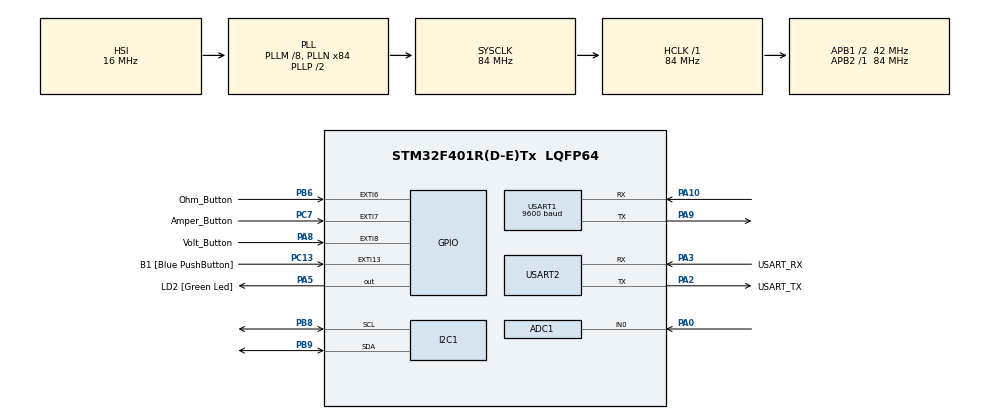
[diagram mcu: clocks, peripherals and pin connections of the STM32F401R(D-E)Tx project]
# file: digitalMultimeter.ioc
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ADC1.Channel-0\#ChannelRegularConversion=ADC_CHANNEL_0
ADC1.ContinuousConvMode=DISABLE
ADC1.NbrOfConversionFlag=1
ADC1.Rank-0\#ChannelRegularConversion=1
ADC1.SamplingTime-0\#ChannelRegularConversion=ADC_SAMPLETIME_3CYCLES
ADC1.ScanConvMode=DISABLE
ADC1.master=1
FREERTOS.Queues01=voltQueue,16,uint16_t,0,Dynamic,NULL,NULL;queueAmper,16,uint16_t,0,Dynamic,NULL,NULL;queueOhm,16,uint16_t,0,Dynamic,NULL,NULL
FREERTOS.Tasks01=voltMeter,24,128,StartVoltMeter,Default,NULL,Dynamic,NULL,NULL;amperMeter,24,128,StartAmperMeter,Default,NULL,Dynamic,NULL,NULL;ohmmeter,24,128,StartOhmMeter,Default,NULL,Dynamic,NULL,NULL;defaultPrint,24,128,StartPrint,Default,NULL,Dynamic,NULL,NULL;adcAcquire,24,128,StartADC,Default,NULL,Dynamic,NULL,NULL
Mcu.Family=STM32F4
Mcu.Name=STM32F401R(D-E)Tx
Mcu.Package=LQFP64
NVIC.EXTI15_10_IRQn=true\:5\:0\:false\:false\:true\:true\:true\:true\:true
NVIC.EXTI9_5_IRQn=true\:5\:0\:false\:false\:true\:true\:true\:true\:true
NVIC.PriorityGroup=NVIC_PRIORITYGROUP_4
NVIC.TIM2_IRQn=true\:15\:0\:false\:false\:true\:false\:false\:true\:true
NVIC.TimeBase=TIM2_IRQn
NVIC.TimeBaseIP=TIM2
PA0-WKUP.Signal=ADCx_IN0
PA10.Mode=Asynchronous
PA10.Signal=USART1_RX
PA13.GPIO_Label=TMS
PA13.Mode=Serial_Wire
PA13.Signal=SYS_JTMS-SWDIO
PA14.GPIO_Label=TCK
PA14.Mode=Serial_Wire
PA14.Signal=SYS_JTCK-SWCLK
PA2.GPIO_Label=USART_TX
PA2.GPIO_Mode=GPIO_MODE_AF_PP
PA2.GPIO_PuPd=GPIO_NOPULL
PA2.GPIO_Speed=GPIO_SPEED_FREQ_LOW
PA2.Mode=Asynchronous
PA2.Signal=USART2_TX
PA3.GPIO_Label=USART_RX
PA3.GPIO_Mode=GPIO_MODE_AF_PP
PA3.GPIO_PuPd=GPIO_NOPULL
PA3.GPIO_Speed=GPIO_SPEED_FREQ_LOW
PA3.Mode=Asynchronous
PA3.Signal=USART2_RX
PA5.GPIO_Label=LD2 [Green Led]
PA5.GPIO_Mode=GPIO_MODE_OUTPUT_PP
PA5.GPIO_PuPd=GPIO_NOPULL
PA5.GPIO_Speed=GPIO_SPEED_FREQ_LOW
PA5.Signal=GPIO_Output
PA8.GPIO_Label=Volt_Button
PA8.GPIO_PuPd=GPIO_NOPULL
PA8.Signal=GPXTI8
PA9.Mode=Asynchronous
PA9.Signal=USART1_TX
PB3.GPIO_Label=SWO
PB3.Signal=SYS_JTDO-SWO
PB6.GPIO_Label=Ohm_Button
PB6.GPIO_PuPd=GPIO_NOPULL
PB6.Signal=GPXTI6
PB8.Mode=I2C
PB8.Signal=I2C1_SCL
PB9.Mode=I2C
PB9.Signal=I2C1_SDA
PC13-ANTI_TAMP.GPIO_Label=B1 [Blue PushButton]
PC13-ANTI_TAMP.GPIO_ModeDefaultEXTI=GPIO_MODE_IT_FALLING
PC13-ANTI_TAMP.GPIO_PuPd=GPIO_NOPULL
PC13-ANTI_TAMP.Signal=GPXTI13
PC14-OSC32_IN.Mode=LSE-External-Oscillator
PC14-OSC32_IN.Signal=RCC_OSC32_IN
PC15-OSC32_OUT.Mode=LSE-External-Oscillator
PC15-OSC32_OUT.Signal=RCC_OSC32_OUT
PC7.GPIO_Label=Amper_Button
PC7.GPIO_PuPd=GPIO_NOPULL
PC7.Signal=GPXTI7
PH0\ -\ OSC_IN.Mode=HSE-External-Oscillator
PH0\ -\ OSC_IN.Signal=RCC_OSC_IN
PH1\ -\ OSC_OUT.Mode=HSE-External-Oscillator
PH1\ -\ OSC_OUT.Signal=RCC_OSC_OUT
ProjectManager.HeapSize=0x200
ProjectManager.StackSize=0x400
ProjectManager.TargetToolchain=STM32CubeIDE
RCC.48MHZClocksFreq_Value=24000000
RCC.AHBFreq_Value=84000000
RCC.APB1CLKDivider=RCC_HCLK_DIV2
RCC.APB1Freq_Value=42000000
RCC.APB1TimFreq_Value=84000000
RCC.APB2Freq_Value=84000000
RCC.APB2TimFreq_Value=84000000
RCC.CortexFreq_Value=84000000
RCC.HCLKFreq_Value=84000000
RCC.HSE_VALUE=8000000
RCC.HSI_VALUE=16000000
RCC.PLLM=8
RCC.PLLN=84
RCC.PLLQ=7
RCC.SYSCLKFreq_VALUE=84000000
RCC.SYSCLKSource=RCC_SYSCLKSOURCE_PLLCLK
RCC.VCOOutputFreq_Value=168000000
SH.ADCx_IN0.0=ADC1_IN0,IN0
USART1.BaudRate=9600
USART1.VirtualMode=VM_ASYNC
USART2.VirtualMode=VM_ASYNC
VP_FREERTOS_VS_CMSIS_V2.Mode=CMSIS_V2
VP_SYS_VS_tim2.Mode=TIM2
board=NUCLEO-F401RE

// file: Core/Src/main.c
/* USER CODE BEGIN Header */
/**
  ******************************************************************************
  * @file           : main.c
  * @brief          : Main program body
  ******************************************************************************
  * @attention
  *
  * Copyright (c) 2024 STMicroelectronics.
  * All rights reserved.
  *
  * This software is licensed under terms that can be found in the LICENSE file
  * in the root directory of this software component.
  * If no LICENSE file comes with this software, it is provided AS-IS.
  *
  ******************************************************************************
  */
/* USER CODE END Header */
#include "main.h"
#include "cmsis_os.h"

/* USER CODE BEGIN Includes */
#include "liquidcrystal_i2c.h"
#include "stdio.h"
#include "string.h"
#include <stdbool.h>
/* USER CODE END Includes */

/* USER CODE BEGIN PD */
#define modprint 0
#define modvolt 1
#define modamper 2
#define modohm 3

/* USER CODE END PD */

ADC_HandleTypeDef hadc1;

I2C_HandleTypeDef hi2c1;

UART_HandleTypeDef huart1;
UART_HandleTypeDef huart2;

/* Definitions for voltMeter */
osThreadId_t voltMeterHandle;
const osThreadAttr_t voltMeter_attributes = {
  .name = "voltMeter",
  .stack_size = 128 * 4,
  .priority = (osPriority_t) osPriorityNormal,
};
/* Definitions for amperMeter */
osThreadId_t amperMeterHandle;
const osThreadAttr_t amperMeter_attributes = {
  .name = "amperMeter",
  .stack_size = 128 * 4,
  .priority = (osPriority_t) osPriorityNormal,
};
/* Definitions for ohmmeter */
osThreadId_t ohmmeterHandle;
const osThreadAttr_t ohmmeter_attributes = {
  .name = "ohmmeter",
  .stack_size = 128 * 4,
  .priority = (osPriority_t) osPriorityNormal,
};
/* Definitions for defaultPrint */
osThreadId_t defaultPrintHandle;
const osThreadAttr_t defaultPrint_attributes = {
  .name = "defaultPrint",
  .stack_size = 128 * 4,
  .priority = (osPriority_t) osPriorityNormal,
};
/* Definitions for adcAcquire */
osThreadId_t adcAcquireHandle;
const osThreadAttr_t adcAcquire_attributes = {
  .name = "adcAcquire",
  .stack_size = 128 * 4,
  .priority = (osPriority_t) osPriorityNormal,
};
/* Definitions for voltQueue */
osMessageQueueId_t voltQueueHandle;
const osMessageQueueAttr_t voltQueue_attributes = {
  .name = "voltQueue"
};
/* Definitions for queueAmper */
osMessageQueueId_t queueAmperHandle;
const osMessageQueueAttr_t queueAmper_attributes = {
  .name = "queueAmper"
};
/* Definitions for queueOhm */
osMessageQueueId_t queueOhmHandle;
const osMessageQueueAttr_t queueOhm_attributes = {
  .name = "queueOhm"
};
/* USER CODE BEGIN PV */
uint16_t raw = 0;
char voltageStr[20];
char amperStr[20];
char ohmStr[20];
uint8_t mod = modprint;
uint16_t Button_Pressed = RESET;
/* USER CODE END PV */

void SystemClock_Config(void);
static void MX_GPIO_Init(void);
static void MX_USART2_UART_Init(void);
static void MX_I2C1_Init(void);
static void MX_ADC1_Init(void);
static void MX_USART1_UART_Init(void);
void StartVoltMeter(void *argument);
void StartAmperMeter(void *argument);
void StartOhmMeter(void *argument);
void StartPrint(void *argument);
void StartADC(void *argument);

int main(void)
{

  /* MCU Configuration--------------------------------------------------------*/

  /* Reset of all peripherals, Initializes the Flash interface and the Systick. */
  HAL_Init();

  /* Configure the system clock */
  SystemClock_Config();

  /* Initialize all configured peripherals */
  MX_GPIO_Init();
  MX_USART2_UART_Init();
  MX_I2C1_Init();
  MX_ADC1_Init();
  MX_USART1_UART_Init();

  /* Init scheduler */
  osKernelInitialize();

  /* Create the queue(s) */
  /* creation of voltQueue */
  voltQueueHandle = osMessageQueueNew (16, sizeof(uint16_t), &voltQueue_attributes);

  /* creation of queueAmper */
  queueAmperHandle = osMessageQueueNew (16, sizeof(uint16_t), &queueAmper_attributes);

  /* creation of queueOhm */
  queueOhmHandle = osMessageQueueNew (16, sizeof(uint16_t), &queueOhm_attributes);

  /* Create the thread(s) */
  /* creation of voltMeter */
  voltMeterHandle = osThreadNew(StartVoltMeter, NULL, &voltMeter_attributes);

  /* creation of amperMeter */
  amperMeterHandle = osThreadNew(StartAmperMeter, NULL, &amperMeter_attributes);

  /* creation of ohmmeter */
  ohmmeterHandle = osThreadNew(StartOhmMeter, NULL, &ohmmeter_attributes);

  /* creation of defaultPrint */
  defaultPrintHandle = osThreadNew(StartPrint, NULL, &defaultPrint_attributes);

  /* creation of adcAcquire */
  adcAcquireHandle = osThreadNew(StartADC, NULL, &adcAcquire_attributes);

  /* Start scheduler */
  osKernelStart();

  /* We should never get here as control is now taken by the scheduler */

  /* Infinite loop */
  while (1)
  {

  }
}

void SystemClock_Config(void)
{
  RCC_OscInitTypeDef RCC_OscInitStruct = {0};
  RCC_ClkInitTypeDef RCC_ClkInitStruct = {0};

  /** Configure the main internal regulator output voltage
  */
  __HAL_RCC_PWR_CLK_ENABLE();
  __HAL_PWR_VOLTAGESCALING_CONFIG(PWR_REGULATOR_VOLTAGE_SCALE2);

  /** Initializes the RCC Oscillators according to the specified parameters
  * in the RCC_OscInitTypeDef structure.
  */
  RCC_OscInitStruct.OscillatorType = RCC_OSCILLATORTYPE_HSI;
  RCC_OscInitStruct.HSIState = RCC_HSI_ON;
  RCC_OscInitStruct.HSICalibrationValue = RCC_HSICALIBRATION_DEFAULT;
  RCC_OscInitStruct.PLL.PLLState = RCC_PLL_ON;
  RCC_OscInitStruct.PLL.PLLSource = RCC_PLLSOURCE_HSI;
  RCC_OscInitStruct.PLL.PLLM = 8;
  RCC_OscInitStruct.PLL.PLLN = 84;
  RCC_OscInitStruct.PLL.PLLP = RCC_PLLP_DIV2;
  RCC_OscInitStruct.PLL.PLLQ = 7;
  if (HAL_RCC_OscConfig(&RCC_OscInitStruct) != HAL_OK)
  {
    Error_Handler();
  }

  /** Initializes the CPU, AHB and APB buses clocks
  */
  RCC_ClkInitStruct.ClockType = RCC_CLOCKTYPE_HCLK|RCC_CLOCKTYPE_SYSCLK
                              |RCC_CLOCKTYPE_PCLK1|RCC_CLOCKTYPE_PCLK2;
  RCC_ClkInitStruct.SYSCLKSource = RCC_SYSCLKSOURCE_PLLCLK;
  RCC_ClkInitStruct.AHBCLKDivider = RCC_SYSCLK_DIV1;
  RCC_ClkInitStruct.APB1CLKDivider = RCC_HCLK_DIV2;
  RCC_ClkInitStruct.APB2CLKDivider = RCC_HCLK_DIV1;

  if (HAL_RCC_ClockConfig(&RCC_ClkInitStruct, FLASH_LATENCY_2) != HAL_OK)
  {
    Error_Handler();
  }
}

static void MX_ADC1_Init(void)
{

  ADC_ChannelConfTypeDef sConfig = {0};

  /** Configure the global features of the ADC (Clock, Resolution, Data Alignment and number of conversion)
  */
  hadc1.Instance = ADC1;
  hadc1.Init.ClockPrescaler = ADC_CLOCK_SYNC_PCLK_DIV4;
  hadc1.Init.Resolution = ADC_RESOLUTION_12B;
  hadc1.Init.ScanConvMode = DISABLE;
  hadc1.Init.ContinuousConvMode = DISABLE;
  hadc1.Init.DiscontinuousConvMode = DISABLE;
  hadc1.Init.ExternalTrigConvEdge = ADC_EXTERNALTRIGCONVEDGE_NONE;
  hadc1.Init.ExternalTrigConv = ADC_SOFTWARE_START;
  hadc1.Init.DataAlign = ADC_DATAALIGN_RIGHT;
  hadc1.Init.NbrOfConversion = 1;
  hadc1.Init.DMAContinuousRequests = DISABLE;
  hadc1.Init.EOCSelection = ADC_EOC_SINGLE_CONV;
  if (HAL_ADC_Init(&hadc1) != HAL_OK)
  {
    Error_Handler();
  }

  /** Configure for the selected ADC regular channel its corresponding rank in the sequencer and its sample time.
  */
  sConfig.Channel = ADC_CHANNEL_0;
  sConfig.Rank = 1;
  sConfig.SamplingTime = ADC_SAMPLETIME_3CYCLES;
  if (HAL_ADC_ConfigChannel(&hadc1, &sConfig) != HAL_OK)
  {
    Error_Handler();
  }

}

static void MX_I2C1_Init(void)
{

  hi2c1.Instance = I2C1;
  hi2c1.Init.ClockSpeed = 100000;
  hi2c1.Init.DutyCycle = I2C_DUTYCYCLE_2;
  hi2c1.Init.OwnAddress1 = 0;
  hi2c1.Init.AddressingMode = I2C_ADDRESSINGMODE_7BIT;
  hi2c1.Init.DualAddressMode = I2C_DUALADDRESS_DISABLE;
  hi2c1.Init.OwnAddress2 = 0;
  hi2c1.Init.GeneralCallMode = I2C_GENERALCALL_DISABLE;
  hi2c1.Init.NoStretchMode = I2C_NOSTRETCH_DISABLE;
  if (HAL_I2C_Init(&hi2c1) != HAL_OK)
  {
    Error_Handler();
  }

}

static void MX_USART1_UART_Init(void)
{

  huart1.Instance = USART1;
  huart1.Init.BaudRate = 9600;
  huart1.Init.WordLength = UART_WORDLENGTH_8B;
  huart1.Init.StopBits = UART_STOPBITS_1;
  huart1.Init.Parity = UART_PARITY_NONE;
  huart1.Init.Mode = UART_MODE_TX_RX;
  huart1.Init.HwFlowCtl = UART_HWCONTROL_NONE;
  huart1.Init.OverSampling = UART_OVERSAMPLING_16;
  if (HAL_UART_Init(&huart1) != HAL_OK)
  {
    Error_Handler();
  }

}

static void MX_USART2_UART_Init(void)
{

  huart2.Instance = USART2;
  huart2.Init.BaudRate = 115200;
  huart2.Init.WordLength = UART_WORDLENGTH_8B;
  huart2.Init.StopBits = UART_STOPBITS_1;
  huart2.Init.Parity = UART_PARITY_NONE;
  huart2.Init.Mode = UART_MODE_TX_RX;
  huart2.Init.HwFlowCtl = UART_HWCONTROL_NONE;
  huart2.Init.OverSampling = UART_OVERSAMPLING_16;
  if (HAL_UART_Init(&huart2) != HAL_OK)
  {
    Error_Handler();
  }

}

static void MX_GPIO_Init(void)
{
  GPIO_InitTypeDef GPIO_InitStruct = {0};

  /* GPIO Ports Clock Enable */
  __HAL_RCC_GPIOC_CLK_ENABLE();
  __HAL_RCC_GPIOH_CLK_ENABLE();
  __HAL_RCC_GPIOA_CLK_ENABLE();
  __HAL_RCC_GPIOB_CLK_ENABLE();

  /*Configure GPIO pin Output Level */
  HAL_GPIO_WritePin(LD2_GPIO_Port, LD2_Pin, GPIO_PIN_RESET);

  /*Configure GPIO pin : B1_Pin */
  GPIO_InitStruct.Pin = B1_Pin;
  GPIO_InitStruct.Mode = GPIO_MODE_IT_FALLING;
  GPIO_InitStruct.Pull = GPIO_NOPULL;
  HAL_GPIO_Init(B1_GPIO_Port, &GPIO_InitStruct);

  /*Configure GPIO pin : LD2_Pin */
  GPIO_InitStruct.Pin = LD2_Pin;
  GPIO_InitStruct.Mode = GPIO_MODE_OUTPUT_PP;
  GPIO_InitStruct.Pull = GPIO_NOPULL;
  GPIO_InitStruct.Speed = GPIO_SPEED_FREQ_LOW;
  HAL_GPIO_Init(LD2_GPIO_Port, &GPIO_InitStruct);

  /*Configure GPIO pin : Amper_Button_Pin */
  GPIO_InitStruct.Pin = Amper_Button_Pin;
  GPIO_InitStruct.Mode = GPIO_MODE_IT_RISING;
  GPIO_InitStruct.Pull = GPIO_NOPULL;
  HAL_GPIO_Init(Amper_Button_GPIO_Port, &GPIO_InitStruct);

  /*Configure GPIO pin : Volt_Button_Pin */
  GPIO_InitStruct.Pin = Volt_Button_Pin;
  GPIO_InitStruct.Mode = GPIO_MODE_IT_RISING;
  GPIO_InitStruct.Pull = GPIO_NOPULL;
  HAL_GPIO_Init(Volt_Button_GPIO_Port, &GPIO_InitStruct);

  /*Configure GPIO pin : Ohm_Button_Pin */
  GPIO_InitStruct.Pin = Ohm_Button_Pin;
  GPIO_InitStruct.Mode = GPIO_MODE_IT_RISING;
  GPIO_InitStruct.Pull = GPIO_NOPULL;
  HAL_GPIO_Init(Ohm_Button_GPIO_Port, &GPIO_InitStruct);

  /* EXTI interrupt init*/
  HAL_NVIC_SetPriority(EXTI9_5_IRQn, 5, 0);
  HAL_NVIC_EnableIRQ(EXTI9_5_IRQn);

  HAL_NVIC_SetPriority(EXTI15_10_IRQn, 5, 0);
  HAL_NVIC_EnableIRQ(EXTI15_10_IRQn);

}

/* USER CODE BEGIN 4 */
void HAL_GPIO_EXTI_Callback(uint16_t GPIO_Pin){
	enum Mode {SELECT_MODE, VOLTMETER_MODE, AMPERMETER_MODE, OHMMETER_MODE };
		enum Mode currentState = SELECT_MODE;
		bool checkButton(uint16_t GPIO_Pin) {
		  if (currentState == SELECT_MODE && GPIO_Pin == B1_Pin) {
		    currentState = SELECT_MODE;
		    return true;
		  } else if (currentState == SELECT_MODE) {
		    if (GPIO_Pin == Volt_Button_Pin) {
		      currentState = VOLTMETER_MODE;
		      return true;
		    } else if (GPIO_Pin == Amper_Button_Pin) {
		      currentState = AMPERMETER_MODE;
		      return true;
		    } else if (GPIO_Pin == Ohm_Button_Pin) {
		      currentState = OHMMETER_MODE;
		      return true;
		    } else {
		      // Handle unexpected button press in SELECT_MODE (optional)
		      return false;
		    }
		  } else if (currentState == VOLTMETER_MODE && GPIO_Pin == Volt_Button_Pin) {
		    // Perform voltmeter operations here
		    return true;
		  } else if (currentState == AMPERMETER_MODE && GPIO_Pin == Amper_Button_Pin) {
		    // Perform ammeter operations here
		    return true;
		  } else if (currentState == OHMMETER_MODE && GPIO_Pin == Ohm_Button_Pin) {
		    // Perform ohmmeter operations here
		    return true;
		  }
		  return false;
		}

		void selectNextMode() {
		  switch (currentState) {
		    case SELECT_MODE:
		      currentState = VOLTMETER_MODE;
		      break;
		    case VOLTMETER_MODE:
		      currentState = AMPERMETER_MODE;
		      break;
		    case AMPERMETER_MODE:
		      currentState = OHMMETER_MODE;
		      break;
		    case OHMMETER_MODE:
		      // Optional: Can reset to DEFAULT_MODE or cycle back to VOLTMETER_MODE
		      break;
		  }
		}

}

/* USER CODE END 4 */

void StartVoltMeter(void *argument)
{
  /* USER CODE BEGIN 5 */

  /* Infinite loop */
  for(;;)
  {
		osThreadSuspend(defaultPrintHandle);
		osThreadSuspend(amperMeterHandle);
		osThreadSuspend(ohmmeterHandle);

	switch(mod){
	case modprint:
		osThreadResume(defaultPrintHandle);
		break;
	case modamper:
		osThreadResume(amperMeterHandle);
		break;
	case modohm:
		osThreadResume(ohmmeterHandle);
		break;
	case modvolt:
	HD44780_Init(2);
	HD44780_Clear();
	HD44780_SetCursor(0,0);
	HD44780_PrintStr("VOLTMETER");
    float voltage = 0;
    snprintf(voltageStr, sizeof(voltageStr), "%.2f V", voltage);
    HD44780_SetCursor(0,1);
    HD44780_PrintStr(voltageStr);
    osDelay(100);
    break;
	}

  }
  /* USER CODE END 5 */
}

void StartAmperMeter(void *argument)
{
  /* USER CODE BEGIN StartAmperMeter */

  /* Infinite loop */
  for(;;)
  {
		osThreadSuspend(defaultPrintHandle);
		osThreadSuspend(voltMeterHandle);
		osThreadSuspend(ohmmeterHandle);

	  switch(mod){
	case modprint:
		osThreadResume(defaultPrintHandle);
		break;
	case modvolt:
		osThreadResume(voltMeterHandle);
		break;
	case modohm:
		osThreadResume(ohmmeterHandle);
		break;
	case modamper:
	HD44780_Init(2);
	HD44780_Clear();
	HD44780_SetCursor(0,0);
	HD44780_PrintStr("AMPERMETER");

	float ampers = 0;
	snprintf(amperStr, sizeof(amperStr), "%.2f A", ampers);
	HD44780_SetCursor(0,1);
	HD44780_PrintStr(amperStr);
    osDelay(100);
    break;
  }
  }
  /* USER CODE END StartAmperMeter */
}

void StartOhmMeter(void *argument)
{
  /* USER CODE BEGIN StartOhmMeter */

  /* Infinite loop */
  for(;;)
  {
	  osThreadSuspend(defaultPrintHandle);
	  osThreadSuspend(voltMeterHandle);
	  osThreadSuspend(amperMeterHandle);

	  switch(mod){
	case modprint:
		osThreadResume(defaultPrintHandle);
		break;
	case modvolt:
		osThreadResume(voltMeterHandle);
		break;
	case modamper:
		osThreadResume(amperMeterHandle);
		break;
	case modohm:
	  	HD44780_Init(2);
	  	HD44780_Clear();
	  	HD44780_SetCursor(0,0);
	  	HD44780_PrintStr("OHMMETER");
	  	float ohms = 0;
	  	snprintf(ohmStr, sizeof(ohmStr), "%.2f ohm", ohms);
	  	HD44780_SetCursor(0,1);
	  	HD44780_PrintStr(ohmStr);
	    osDelay(100);
	    break;
	  }

  }
  /* USER CODE END StartOhmMeter */
}

void StartPrint(void *argument)
{
  /* USER CODE BEGIN StartPrint */

  /* Infinite loop */
  for(;;)
  {
	  osThreadSuspend(voltMeterHandle);
	  osThreadSuspend(amperMeterHandle);
	  osThreadSuspend(ohmmeterHandle);

	  switch(mod){
	case modohm:
		osThreadResume(ohmmeterHandle);
		break;
	case modvolt:
		osThreadResume(voltMeterHandle);
		break;
	case modamper:
		osThreadResume(amperMeterHandle);
		break;
	case modprint:
	  HD44780_Init(2);
	  HD44780_Clear();
	  HD44780_SetCursor(0,0);
	  HD44780_PrintStr("/////DIGITAL////");
	  HD44780_SetCursor(0,1);
	  HD44780_PrintStr("///MULTIMETER///");
	  osDelay(100);
	  break;
	  }

  }
  /* USER CODE END StartPrint */
}

void StartADC(void *argument)
{
  /* USER CODE BEGIN StartADC */
  /* Infinite loop */
  for(;;)
  {
	HAL_ADC_Start(&hadc1);
	HAL_ADC_PollForConversion(&hadc1,100);
	raw = HAL_ADC_GetValue(&hadc1);
	osMessageQueuePut(voltQueueHandle, &raw, 1, 10);
	osMessageQueuePut(queueAmperHandle, &raw, 1, 10);
	osMessageQueuePut(queueOhmHandle, &raw, 1, 10);
    osDelay(100);
  }
  /* USER CODE END StartADC */
}

void HAL_TIM_PeriodElapsedCallback(TIM_HandleTypeDef *htim)
{
  if (htim->Instance == TIM2) {
    HAL_IncTick();
  }
}

void Error_Handler(void)
{
  __disable_irq();
  while (1)
  {
  }
}
